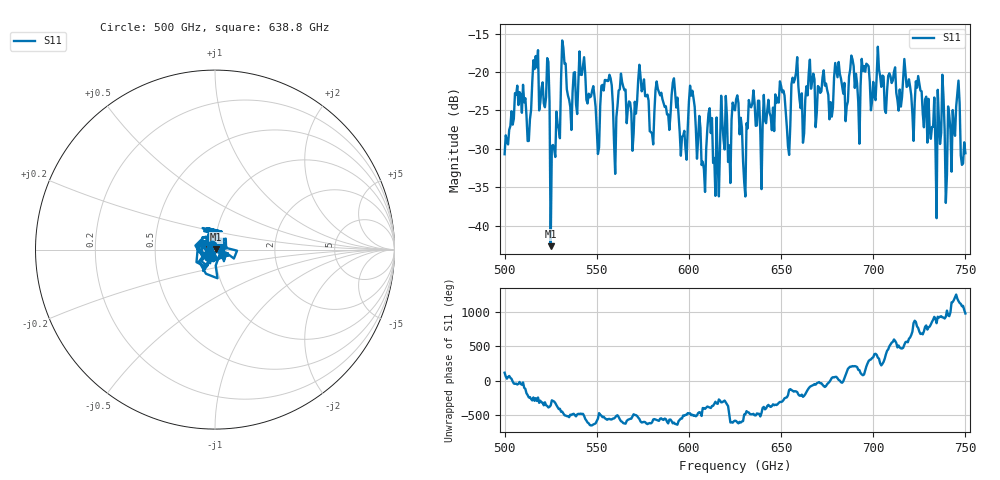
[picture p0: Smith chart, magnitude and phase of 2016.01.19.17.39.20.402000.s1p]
!Created with skrf (http://scikit-rf.org).
# GHz S RI R 50.0
!freq ReS11 ImS11
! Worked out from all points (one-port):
!   401 points, 500 GHz to 750 GHz, reference 50 ohm
!   lowest |S11| = -42.7 dB at 525 GHz (marker M1), VSWR 1.01, Z = 50.7 + j0.0569 ohm
!   |S11| at or under -10 dB: start of sweep to end of sweep
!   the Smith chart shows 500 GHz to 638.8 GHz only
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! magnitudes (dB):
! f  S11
! 500 GHz  -30.7
! 506.9 GHz  -21.8
! 513.1 GHz  -29.0
! 516.9 GHz  -17.9
! 523.1 GHz  -18.2
! 525 GHz  -42.7
! 526.2 GHz  -29.5
! 531.2 GHz  -15.9
! 541.9 GHz  -20.4
! 550.6 GHz  -30.7
! 562.5 GHz  -22.3
! 593.8 GHz  -23.3
! 597.5 GHz  -27.7
! 601.9 GHz  -22.4
! 608.1 GHz  -32.7
! 611.2 GHz  -24.7
! 625 GHz  -25.0
! 630.6 GHz  -36.2
! 633.8 GHz  -24.6
! 640 GHz  -27.0
! 650.6 GHz  -22.7
! 653.8 GHz  -29.7
! 656.2 GHz  -20.7
! 687.5 GHz  -19.7
! 718.8 GHz  -21.8
! 733.1 GHz  -23.3
! 745.6 GHz  -22.8
! 750 GHz  -30.6
